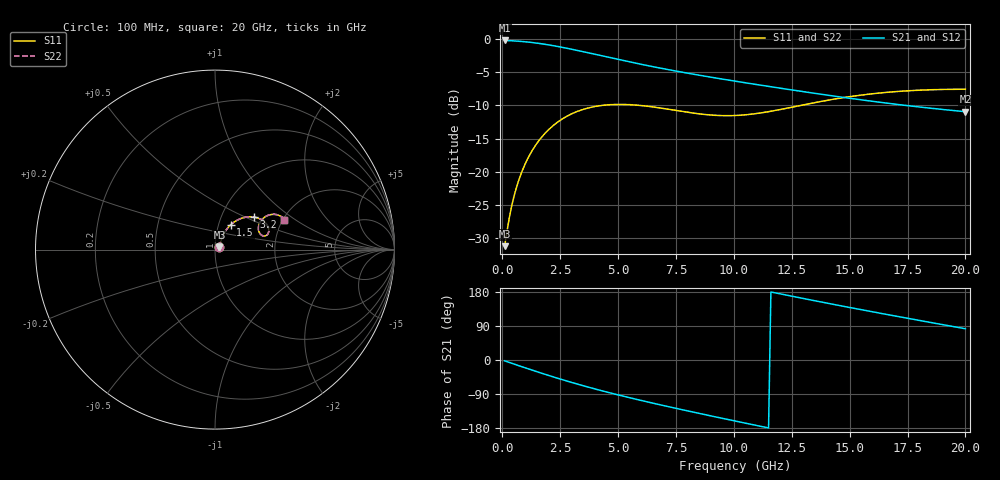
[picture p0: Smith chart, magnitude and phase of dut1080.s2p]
! Touchstone file exported from HFSS 2024.1.0
!  File:  C:/UserFiles/LocalFiles/RDL_TSV_Batchsim/temp_RDL_TSV_1080_1780095523.aedt
!  Generated:  12:07:37 PM May 30, 2026
!  Design:  RDL_TSV
!  Project:  temp_RDL_TSV_1080_1780095523
!  Setup:  Setup1
!  Solution:  Sweep
! Variables:
!  dtsv = 5.05um
!  hbump = 3um
!  htsv = 67.49um
!  ldown = 566.16um
!  lrdl = 675.17um
!  p = 40
!  p1 = 45.94um
!  rhole = 10um
!  subl = 4399.16um
!  t = 450um
!  tdown = 2.78um
!  trdl = 4.81um
!  viad = 10um
!  wdown = 28.07um
!  wrdl = 13.09um
!  xbump = 18um
# GHz S MA R 50.000000
! Terminal data exported
! Port[1] = TM1_1_T1
! Port[2] = TM1_4_T1
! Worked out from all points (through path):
!   200 points, 100 MHz to 20 GHz, reference 50 ohm
!   highest |S21| = -0.22 dB at 100 MHz (marker M1); lowest = -11.0 dB at 20 GHz (marker M2)
!   group delay of S21, straight-line fit = 37.1 ps
!   lowest |S11| = -31.2 dB at 100 MHz (marker M3), VSWR 1.06, Z = 52.5 + j1.25 ohm
!   |S11| at or under -10 dB: start of sweep to 4.325 GHz; 5.917 GHz to 12.9 GHz (6.982 GHz wide, 74.2 % of centre)
!   |S22| runs from -31.2 to -7.6 dB; largest |S21 - S12| = 1.1e-14
!   S11 on the Smith chart (normalised r, x): 100 MHz: 1.05, +0.03; 1.5 GHz: 1.14, +0.33; 3.2 GHz: 1.43, +0.56; 20 GHz: 2.03, +0.82
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0.1  0.02749 25.7  0.9754 -2.2  0.9754 -2.2  0.02749 25.7
! Gamma 0 0 0 0
! Port Impedance 50 0 50 0
0.3  0.04471 49.8  0.9722 -6.4  0.9722 -6.4  0.04471 49.8
0.4  0.05461 54.6  0.9702 -8.5  0.9702 -8.5  0.05461 54.6
0.7  0.08512 60.3  0.9628 -14.7  0.9628 -14.7  0.08512 60.3
1.1  0.1256 60.4  0.9492 -22.9  0.9492 -22.9  0.1256 60.4
1.5  0.1641 57.6  0.9312 -31.0  0.9312 -31.0  0.1641 57.6
2.3  0.2302 49.5  0.8847 -46.5  0.8847 -46.5  0.2302 49.5
2.7  0.2566 45.1  0.858 -53.9  0.858 -53.9  0.2567 45.2
3.2  0.283 39.8  0.8233 -62.8  0.8233 -62.8  0.283 39.8
3.5  0.2952 36.8  0.8022 -68.0  0.8022 -68.0  0.2953 36.8
4.2  0.3142 30.2  0.7539 -79.6  0.7539 -79.6  0.3142 30.2
5.1  0.3216 23.3  0.6961 -93.6  0.6961 -93.6  0.3217 23.3
5.9  0.3164 18.8  0.6502 -105.4  0.6502 -105.4  0.3165 18.8
6.8  0.3026 15.9  0.6047 -118.0  0.6047 -118.0  0.3027 15.9
8.4  0.2744 16.6  0.5376 -139.6  0.5376 -139.6  0.2744 16.6
10.1  0.2655 23.8  0.48 -161.6  0.48 -161.6  0.2655 23.8
11.6  0.2855 30.2  0.4368 179.5  0.4368 179.5  0.2856 30.2
13.4  0.3291 33.1  0.3919 157.5  0.3919 157.5  0.3293 33.2
15  0.3677 32.0  0.3577 138.6  0.3577 138.6  0.368 32.1
16.7  0.3979 29.1  0.3272 119.1  0.3272 119.1  0.3982 29.2
18.3  0.4135 26.1  0.3036 101.2  0.3036 101.2  0.4139 26.1
20  0.4185 23.4  0.2834 82.5  0.2834 82.5  0.4189 23.5
